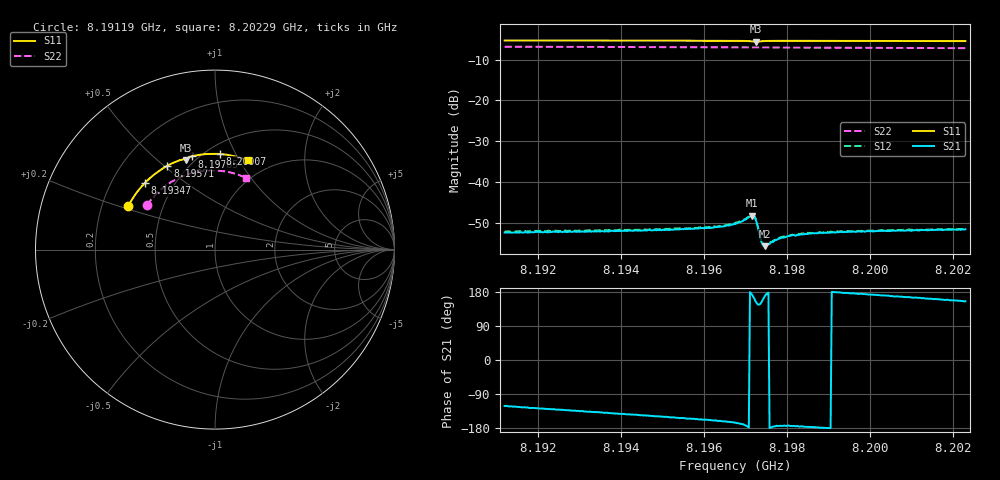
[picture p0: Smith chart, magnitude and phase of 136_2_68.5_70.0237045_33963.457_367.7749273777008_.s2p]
#  HZ  S  RI  R  50.00
! Rohde & Schwarz Vector Network Analyzer
! Rohde-Schwarz,ZNB20-2Port,1311601062101988,3.16
! Created: UTC 3/20/2024, 4:54:40 PM
! freq[Hz]  re:S11  im:S11  re:S21  im:S21  re:S12  im:S12  re:S22  im:S22
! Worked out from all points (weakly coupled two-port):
!   401 points, 8.19119 GHz to 8.20229 GHz, reference 50 ohm
!   highest |S21| = -48.16 dB at 8.19716 GHz (marker M1); lowest = -55.6 dB at 8.19746 GHz (marker M2)
!   lowest |S11| = -5.6 dB at 8.19724 GHz (marker M3), VSWR 3.19, Z = 22.7 + j31.1 ohm
!   |S11| at or under -10 dB: nowhere
!   |S22| runs from -7.2 to -6.9 dB; largest |S21 - S12| = 0.00024
!   S11 on the Smith chart (normalised r, x): 8.19119 GHz: 0.31, +0.21; 8.19347 GHz: 0.34, +0.36; 8.19571 GHz: 0.39, +0.51; 8.19785 GHz: 0.46, +0.67; 8.20007 GHz: 0.58, +0.87; 8.20229 GHz: 0.78, +1.09
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8.191189e9  -0.4833 0.2417  -0.00126 -0.00209  -0.00133 -0.0021  -0.379 0.2483
8.193049e9  -0.4104 0.35  -0.00178 -0.00178  -0.0019 -0.00178  -0.3113 0.326
8.193466e9  -0.3906 0.3716  -0.00187 -0.00169  -0.00201 -0.00168  -0.2937 0.3409
8.194909e9  -0.3133 0.4375  -0.00224 -0.00134  -0.00234 -0.00132  -0.2271 0.3863
8.195714e9  -0.2647 0.4676  -0.00248 -0.00113  -0.00254 -0.0011  -0.1867 0.406
8.196352e9  -0.2236 0.4877  -0.00271 -0.000952  -0.00281 -0.000859  -0.1532 0.4188
8.196741e9  -0.1968 0.4982  -0.00299 -0.000788  -0.00315 -0.000681  -0.1323 0.425
8.197157e9  -0.1641 0.5004  -0.00387 0.000577  -0.00395 0.000803  -0.1097 0.4305
8.197213e9  -0.1622 0.4974  -0.00356 0.00127  -0.00355 0.00147  -0.1066 0.4312
8.197241e9  -0.1626 0.4965  -0.00317 0.00154  -0.00316 0.00168  -0.1052 0.4314
8.197268e9  -0.1634 0.4963  -0.00273 0.0016  -0.00272 0.00177  -0.1037 0.4318
8.197379e9  -0.1627 0.5033  -0.00166 0.000859  -0.00168 0.000931  -0.0977 0.433
8.197407e9  -0.1612 0.5052  -0.00162 0.000636  -0.00169 0.000698  -0.0961 0.4334
8.197463e9  -0.1574 0.5083  -0.00164 0.000317  -0.00164 0.000384  -0.0931 0.4341
8.197518e9  -0.1533 0.5108  -0.00173 0.000145  -0.00173 0.000226  -0.0901 0.4346
8.197657e9  -0.1429 0.5151  -0.00186 -0.000143  -0.00195 -6.6e-05  -0.0824 0.4359
8.197851e9  -0.1287 0.5193  -0.0021 -0.000223  -0.00215 -0.00011  -0.0713 0.4375
8.198101e9  -0.1106 0.5235  -0.00224 -0.000232  -0.00229 -0.00014  -0.0574 0.4392
8.198601e9  -0.0751 0.5295  -0.0024 -0.00014  -0.00241 -5.15e-06  -0.0293 0.4411
8.200072e9  0.0293 0.5325  -0.00249 0.000341  -0.00255 0.000478  0.0539 0.4359
8.20046e9  0.0567 0.5298  -0.0025 0.00049  -0.00254 0.00059  0.0758 0.4322
8.202292e9  0.182 0.4981  -0.00243 0.00113  -0.0024 0.00125  0.1745 0.3986
